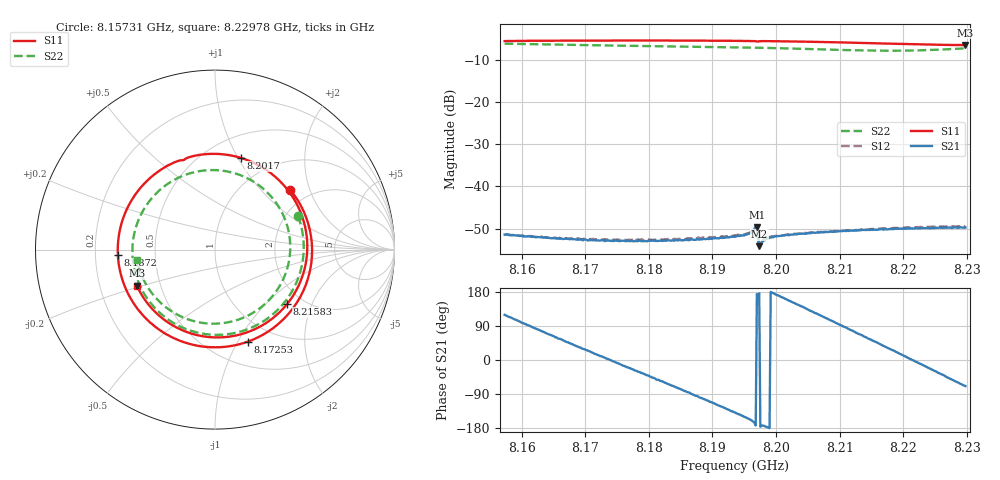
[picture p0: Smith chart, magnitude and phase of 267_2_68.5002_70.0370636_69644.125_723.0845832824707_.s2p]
#  HZ  S  RI  R  50.00
! Rohde & Schwarz Vector Network Analyzer
! Rohde-Schwarz,ZNB20-2Port,1311601062101988,3.16
! Created: UTC 3/20/2024, 5:00:36 PM
! freq[Hz]  re:S11  im:S11  re:S21  im:S21  re:S12  im:S12  re:S22  im:S22
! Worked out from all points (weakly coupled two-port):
!   401 points, 8.15731 GHz to 8.22978 GHz, reference 50 ohm
!   highest |S21| = -49.61 dB at 8.19699 GHz (marker M1); lowest = -54.2 dB at 8.19735 GHz (marker M2)
!   lowest |S11| = -6.4 dB at 8.22978 GHz (marker M3), VSWR 2.84, Z = 18.3 - j9.57 ohm
!   |S11| at or under -10 dB: nowhere
!   |S22| runs from -7.7 to -6.0 dB; largest |S21 - S12| = 0.00026
!   S11 on the Smith chart (normalised r, x): 8.15731 GHz: 1.60, +1.49; 8.17253 GHz: 0.76, -1.10; 8.1872 GHz: 0.30, -0.02; 8.2017 GHz: 0.72, +1.03; 8.21583 GHz: 1.66, -1.35; 8.22978 GHz: 0.37, -0.19
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8.157305e9  0.4198 0.3323  -0.0013 0.00233  -0.00132 0.00235  0.4624 0.1874
8.163466e9  0.5388 -0.053  0.000686 0.00237  0.000677 0.00239  0.4564 -0.1773
8.169445e9  0.3627 -0.4055  0.002 0.00119  0.00199 0.00126  0.2197 -0.4271
8.172526e9  0.1842 -0.5123  0.00226 0.000401  0.00229 0.000383  0.0488 -0.4734
8.176875e9  -0.1089 -0.5333  0.00209 -0.000807  0.00217 -0.000853  -0.1925 -0.4293
8.181586e9  -0.3896 -0.379  0.00137 -0.0018  0.00136 -0.0019  -0.3884 -0.2559
8.187203e9  -0.5413 -0.0278  -0.000116 -0.00232  -0.000162 -0.0024  -0.4576 0.0432
8.190283e9  -0.5085 0.1837  -0.00101 -0.0022  -0.00111 -0.00222  -0.4071 0.2057
8.193545e9  -0.3865 0.3756  -0.00189 -0.00167  -0.00203 -0.00167  -0.2921 0.345
8.196625e9  -0.2041 0.4945  -0.003 -0.000723  -0.00313 -0.000613  -0.1397 0.4249
8.196988e9  -0.1789 0.4976  -0.00329 0.00034  -0.00333 0.000468  -0.1201 0.4299
8.19735e9  -0.1631 0.507  -0.00195 0.000132  -0.00197 0.000195  -0.1006 0.4346
8.197712e9  -0.1376 0.5167  -0.00213 -0.000233  -0.00217 -0.00013  -0.0803 0.4383
8.201699e9  0.1422 0.5117  -0.0025 0.000914  -0.00245 0.00104  0.1429 0.414
8.205685e9  0.3788 0.3636  -0.00173 0.00223  -0.00167 0.00227  0.3271 0.2788
8.210759e9  0.5138 0.0359  0.000148 0.00296  0.000199 0.00298  0.419 -0.00391
8.215832e9  0.4019 -0.3031  0.0021 0.00221  0.00225 0.00218  0.2951 -0.2873
8.217825e9  0.2967 -0.4008  0.0027 0.00156  0.00278 0.00151  0.1923 -0.3632
8.220725e9  0.1042 -0.481  0.00314 0.000311  0.00324 0.000231  0.00969 -0.4125
8.223443e9  -0.0913 -0.4783  0.00307 -0.000902  0.0031 -0.00107  -0.1692 -0.3814
8.226885e9  -0.3117 -0.3676  0.00227 -0.00229  0.00224 -0.00247  -0.3546 -0.2388
8.229785e9  -0.4356 -0.201  0.00118 -0.00303  0.000993 -0.0032  -0.4355 -0.0554
